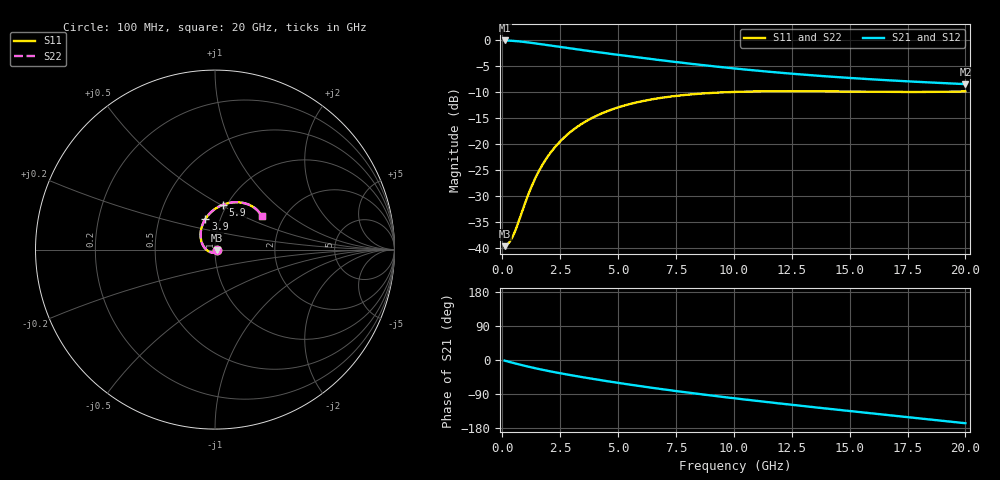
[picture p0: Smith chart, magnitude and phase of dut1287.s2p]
! Touchstone file exported from HFSS 2024.1.0
!  File:  C:/UserFiles/LocalFiles/RDL_TSV_Batchsim/temp_RDL_TSV_1287_1780278936.aedt
!  Generated:  10:11:59 AM Jun  1, 2026
!  Design:  RDL_TSV
!  Project:  temp_RDL_TSV_1287_1780278936
!  Setup:  Setup1
!  Solution:  Sweep
! Variables:
!  dtsv = 12.94um
!  hbump = 3um
!  htsv = 83.54um
!  ldown = 226.2um
!  lrdl = 338.91um
!  p = 40
!  p1 = 53um
!  rhole = 10um
!  subl = 2034.24um
!  t = 450um
!  tdown = 4.38um
!  trdl = 3.88um
!  viad = 10um
!  wdown = 19.2um
!  wrdl = 16.47um
!  xbump = 18um
# GHz S MA R 50.000000
! Terminal data exported
! Port[1] = TM1_1_T1
! Port[2] = TM1_4_T1
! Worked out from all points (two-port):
!   200 points, 100 MHz to 20 GHz, reference 50 ohm
!   highest |S21| = -0.11 dB at 100 MHz (marker M1); lowest = -8.5 dB at 20 GHz (marker M2)
!   |S21| within 3 dB of the highest: start of sweep to 5.421 GHz
!   lowest |S11| = -39.6 dB at 100 MHz (marker M3), VSWR 1.02, Z = 51 - j0.295 ohm
!   |S11| at or under -10 dB: start of sweep to 9.913 GHz
!   |S22| runs from -39.6 to -9.8 dB; largest |S21 - S12| = 1.8e-14
!   S11 on the Smith chart (normalised r, x): 100 MHz: 1.02, -0.01; 3.9 GHz: 0.85, +0.30; 5.9 GHz: 0.96, +0.51; 20 GHz: 1.54, +0.65
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0.1  0.01049 -16.0  0.9879 -1.7  0.9879 -1.7  0.01049 -16.0
! Gamma 0 0 0 0
! Port Impedance 50 0 50 0
0.3  0.01141 -49.7  0.9841 -5.0  0.9841 -5.0  0.01141 -49.7
0.5  0.01368 -83.9  0.9777 -8.2  0.9777 -8.2  0.01367 -83.9
1.2  0.03625 -163.2  0.9411 -18.7  0.9411 -18.7  0.03623 -163.2
1.5  0.05085 178.2  0.9215 -22.8  0.9215 -22.8  0.05085 178.1
1.8  0.0669 163.7  0.9013 -26.6  0.9013 -26.6  0.06691 163.6
2.2  0.08935 148.3  0.8746 -31.5  0.8746 -31.5  0.08937 148.3
2.6  0.1119 135.9  0.8491 -36.1  0.8491 -36.1  0.112 135.9
3  0.134 125.6  0.8247 -40.5  0.8247 -40.5  0.134 125.5
3.5  0.16 114.7  0.7961 -45.7  0.7961 -45.7  0.1601 114.7
3.9  0.1794 107.2  0.7743 -49.7  0.7743 -49.7  0.1794 107.2
4.8  0.2176 93.2  0.7287 -58.5  0.7287 -58.5  0.2177 93.2
5.9  0.2543 79.9  0.6779 -68.5  0.6779 -68.5  0.2544 79.8
6.8  0.2768 71.1  0.6403 -76.2  0.6403 -76.2  0.2769 71.1
8.4  0.3032 59.1  0.5815 -89.0  0.5815 -89.0  0.3034 59.1
10.1  0.3172 49.9  0.5301 -101.6  0.5301 -101.6  0.3174 49.9
11.7  0.3218 43.7  0.4908 -112.8  0.4908 -112.8  0.3219 43.7
13.4  0.3214 39.3  0.4572 -124.2  0.4572 -124.2  0.3215 39.3
15  0.3189 36.8  0.4316 -134.7  0.4316 -134.7  0.319 36.8
16.7  0.3166 35.6  0.4094 -145.6  0.4094 -145.6  0.3167 35.6
18.3  0.3168 35.5  0.3921 -155.9  0.3921 -155.9  0.3168 35.5
20  0.3207 36.0  0.3766 -166.8  0.3766 -166.8  0.3207 36.0
